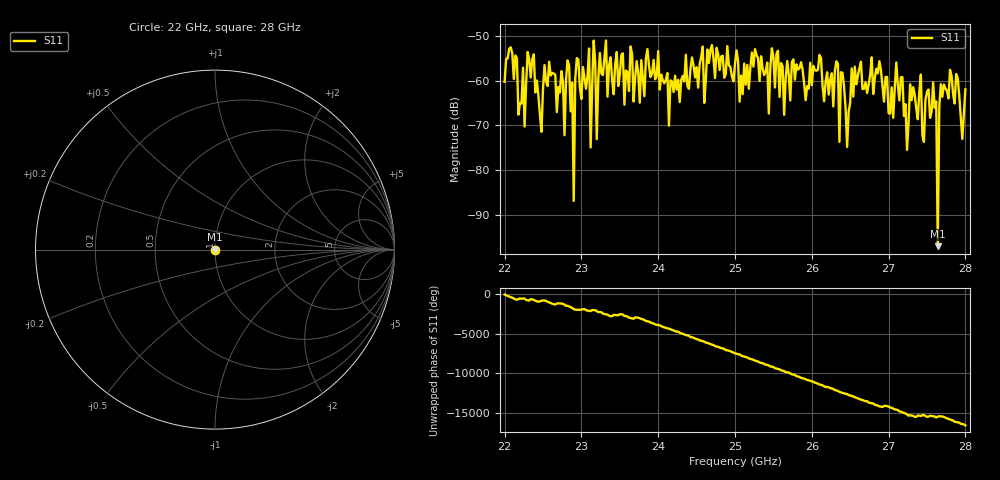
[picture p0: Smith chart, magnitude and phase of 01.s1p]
#  HZ  S  RI  R  50.00
! Rohde & Schwarz ZVA40 4Ports - Version 3.90 - 1145.1110k42 SN: 100403
! Date: 2023-10-04 09:37:58
! Measurement: S12
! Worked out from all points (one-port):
!   301 points, 22 GHz to 28 GHz, reference 50 ohm
!   lowest |S11| = -96.9 dB at 27.64 GHz (marker M1), VSWR 1.00, Z = 50 - j0.000448 ohm
!   |S11| at or under -10 dB: start of sweep to end of sweep
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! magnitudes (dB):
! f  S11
! 22 GHz  -60.3
! 22.76 GHz  -60.3
! 22.78 GHz  -72.2
! 22.82 GHz  -55.5
! 22.88 GHz  -60.5
! 22.9 GHz  -86.8
! 22.94 GHz  -55.0
! 23.1 GHz  -52.9
! 23.12 GHz  -74.9
! 23.16 GHz  -51.1
! 23.2 GHz  -73.1
! 23.24 GHz  -53.9
! 23.5 GHz  -58.6
! 24.26 GHz  -59.9
! 25 GHz  -56.3
! 25.44 GHz  -67.4
! 25.56 GHz  -53.4
! 25.64 GHz  -67.6
! 25.76 GHz  -55.3
! 26.5 GHz  -64.9
! 26.78 GHz  -54.8
! 27.06 GHz  -68.3
! 27.1 GHz  -56.0
! 27.26 GHz  -69.4
! 27.58 GHz  -60.4
! 27.64 GHz  -96.9
! 27.68 GHz  -60.8
! 28 GHz  -62.0
